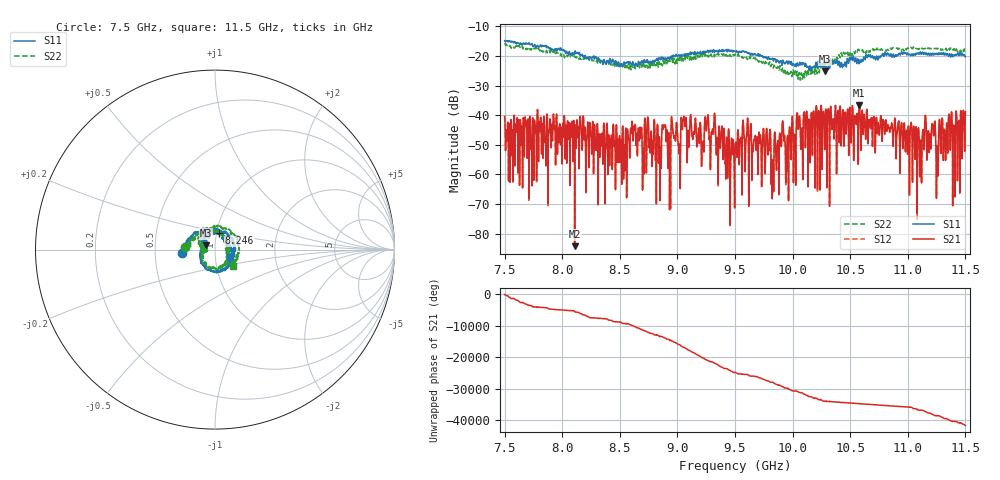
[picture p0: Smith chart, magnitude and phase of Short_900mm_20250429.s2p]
#  HZ  S  DB  R  50.00
! Rohde & Schwarz ZVA40 2Ports - Version 4.11 - 1145.1110k40 SN: 100216
! Date: 2025-04-29 18:41:02
! Measurements: S11 S21 S12 S22
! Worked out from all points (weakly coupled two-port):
!   5001 points, 7.5 GHz to 11.5 GHz, reference 50 ohm
!   highest |S21| = -36.58 dB at 10.58 GHz (marker M1); lowest = -84.2 dB at 8.108 GHz (marker M2)
!   lowest |S11| = -25.1 dB at 10.28 GHz (marker M3), VSWR 1.12, Z = 45.2 + j2.22 ohm
!   |S11| at or under -10 dB: start of sweep to end of sweep
!   |S22| runs from -28.1 to -15.6 dB; largest |S21 - S12| = 0.00015
!   S11 on the Smith chart (normalised r, x): 7.5 GHz: 0.69, -0.02; 8.246 GHz: 1.03, +0.19; 11.5 GHz: 1.19, -0.10
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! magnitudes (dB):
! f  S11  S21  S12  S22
! 7.5 GHz  -14.8  -40.4  -40.3  -15.6
! 8.108 GHz  -19.1  -84.2  -82.9  -20.4
! 8.167 GHz  -19.6  -45.6  -45.6  -21.2
! 8.246 GHz  -20.6  -45.5  -45.5  -21.3
! 8.834 GHz  -21.6  -48.8  -48.8  -23.8
! 8.882 GHz  -21.2  -43.3  -43.3  -22.5
! 8.923 GHz  -20.6  -46.1  -46.0  -21.9
! 9.05 GHz  -19.9  -41.4  -41.3  -21.7
! 9.211 GHz  -19.1  -54.5  -54.4  -20.5
! 9.253 GHz  -18.6  -45.0  -45.0  -20.2
! 9.5 GHz  -18.4  -54.4  -54.5  -19.5
! 9.789 GHz  -20.3  -52.1  -52.0  -22.6
! 9.831 GHz  -21.5  -56.6  -56.6  -24.1
! 9.904 GHz  -22.7  -49.2  -49.0  -25.1
! 9.949 GHz  -21.7  -55.9  -56.1  -24.9
! 10.05 GHz  -23.2  -44.8  -44.7  -27.5
! 10.17 GHz  -23.7  -40.4  -40.4  -24.2
! 10.28 GHz  -25.1  -40.3  -40.3  -23.3
! 10.58 GHz  -22.1  -36.6  -36.6  -18.1
! 10.83 GHz  -19.4  -44.4  -44.4  -18.1
! 11.1 GHz  -19.2  -51.9  -51.7  -17.4
! 11.5 GHz  -20.3  -38.8  -38.8  -17.7
